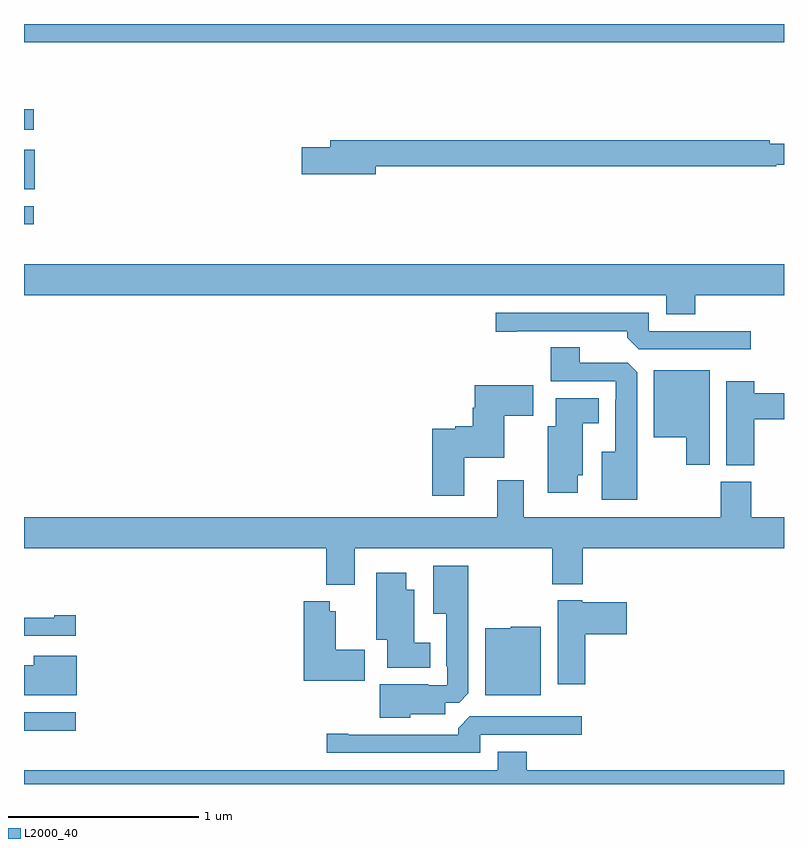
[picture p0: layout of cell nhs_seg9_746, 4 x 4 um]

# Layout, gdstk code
import gdstk
lib = gdstk.Library(unit=1e-6, precision=1e-09)
def R(c, l, rs):  # rectangles x0, y0, x1, y1
    for r in rs: c.add(gdstk.rectangle(r[:2], r[2:], *l))
def P(c, l, *ps):  # polygons
    for p in ps: c.add(gdstk.Polygon(p, *l))
L2000_40 = (2000, 40)

nhs_seg9_746 = lib.new_cell('nhs_seg9_746')
R(nhs_seg9_746, L2000_40, [(149,1208.781,149.272,1208.877), (149,1211.445,149.05,1211.541), (149,1211.63,149.056,1211.839), (149,1211.943,149.05,1212.052), (149,1212.404,153,1212.5)])
P(nhs_seg9_746, L2000_40, [(150.85,1211.752),(152.96,1211.752),(152.96,1211.76),(153,1211.76),(153,1211.869),(152.924,1211.869),(152.924,1211.888),(150.611,1211.888),(150.611,1211.852),(150.462,1211.852),(150.462,1211.71),(150.85,1211.71)],
  [(152.534,1211.072),(153,1211.072),(153,1211.236),(149,1211.236),(149,1211.072),(152.381,1211.072),(152.381,1210.973),(152.534,1210.973)],
  [(152.824,1210.884),(152.289,1210.884),(152.289,1210.98),(151.482,1210.98),(151.482,1210.879),(151.594,1210.879),(151.594,1210.884),(152.174,1210.884),(152.174,1210.85),(152.235,1210.788),(152.824,1210.788)],
  [(152.227,1210.667),(152.178,1210.716),(151.924,1210.716),(151.924,1210.799),(151.772,1210.799),(151.772,1210.62),(152.115,1210.62),(152.115,1210.523),(152.111,1210.523),(152.111,1210.249),(152.042,1210.249),(152.042,1209.995),(152.227,1209.995)],
  [(152.608,1210.678),(152.315,1210.678),(152.315,1210.325),(152.486,1210.325),(152.486,1210.179),(152.608,1210.179)],
  [(152.843,1210.42),(153,1210.42),(153,1210.556),(152.843,1210.556),(152.843,1210.621),(152.696,1210.621),(152.696,1210.177),(152.843,1210.177)],
  [(151.318,1210.217),(151.528,1210.217),(151.528,1210.438),(151.681,1210.438),(151.681,1210.6),(151.373,1210.6),(151.373,1210.481),(151.361,1210.481),(151.361,1210.382),(151.271,1210.382),(151.271,1210.369),(151.148,1210.369),(151.148,1210.017),(151.318,1210.017)],
  [(151.915,1210.125),(151.942,1210.125),(151.942,1210.4),(152.026,1210.4),(152.026,1210.531),(151.799,1210.531),(151.799,1210.384),(151.757,1210.384),(151.757,1210.032),(151.915,1210.032)],
  [(150.742,1209.74),(151.78,1209.74),(151.78,1209.551),(151.94,1209.551),(151.94,1209.74),(153,1209.74),(153,1209.904),(152.828,1209.904),(152.828,1210.092),(152.668,1210.092),(152.668,1209.904),(151.63,1209.904),(151.63,1210.099),(151.49,1210.099),(151.49,1209.904),(149,1209.904),(149,1209.74),(150.59,1209.74),(150.59,1209.548),(150.742,1209.548)],
  [(151.032,1208.867),(151.216,1208.867),(151.216,1208.928),(151.29,1208.928),(151.339,1208.977),(151.339,1209.649),(151.154,1209.649),(151.154,1209.395),(151.223,1209.395),(151.223,1209.121),(151.227,1209.121),(151.227,1209.021),(151.127,1209.021),(151.127,1209.025),(150.872,1209.025),(150.872,1208.849),(151.032,1208.849)],
  [(151.138,1209.244),(151.054,1209.244),(151.054,1209.523),(151.012,1209.523),(151.012,1209.613),(150.854,1209.613),(150.854,1209.26),(150.911,1209.26),(150.911,1209.113),(151.138,1209.113)],
  [(151.955,1209.287),(152.173,1209.287),(152.173,1209.457),(151.938,1209.457),(151.938,1209.466),(151.808,1209.466),(151.808,1209.024),(151.955,1209.024)],
  [(150.793,1209.207),(150.64,1209.207),(150.64,1209.409),(150.61,1209.409),(150.61,1209.463),(150.473,1209.463),(150.473,1209.044),(150.793,1209.044)],
  [(149.272,1209.388),(149.159,1209.388),(149.159,1209.375),(149,1209.375),(149,1209.279),(149.272,1209.279)],
  [(151.72,1209.328),(151.563,1209.328),(151.563,1209.319),(151.427,1209.319),(151.427,1208.966),(151.72,1208.966)],
  [(149.278,1209.175),(149.051,1209.175),(149.051,1209.124),(149,1209.124),(149,1208.966),(149.278,1208.966)],
  [(151.401,1208.76),(151.936,1208.76),(151.936,1208.856),(151.347,1208.856),(151.286,1208.794),(151.286,1208.76),(150.706,1208.76),(150.706,1208.765),(150.594,1208.765),(150.594,1208.664),(151.401,1208.664)],
  [(153,1208.572),(151.646,1208.572),(151.646,1208.671),(151.493,1208.671),(151.493,1208.572),(149,1208.572),(149,1208.5),(153,1208.5)])

lib.write_gds('nhs_seg9_746.gds')
